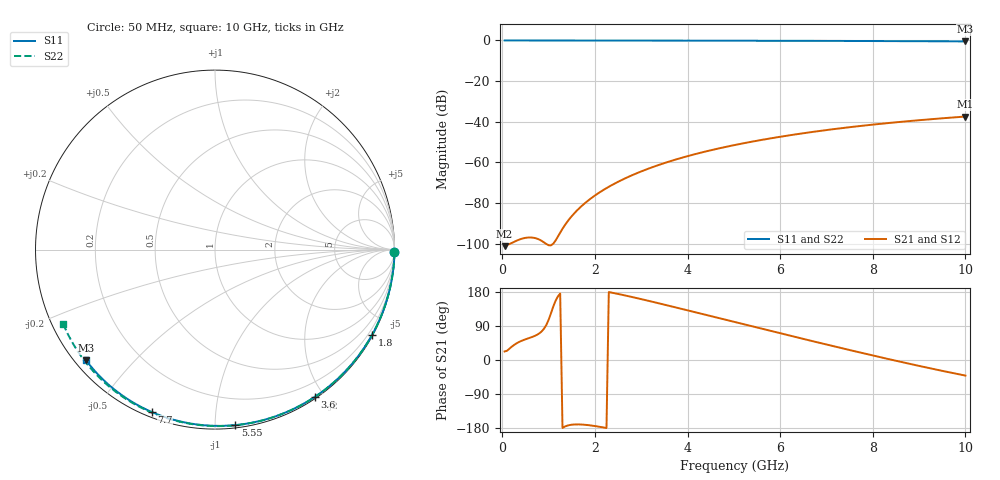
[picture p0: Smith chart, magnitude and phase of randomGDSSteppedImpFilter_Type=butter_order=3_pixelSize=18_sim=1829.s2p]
! freq	dB(S11)	phase(S11)	dB(S12)	phase(S12)
!  dB(S21)	phase(S21)	dB(S22)	phase(S22)
!S-par simulation data
#  GHz  S  DB  R 50
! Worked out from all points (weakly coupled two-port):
!   200 points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, 50 MHz to 10 GHz, reference 50 ohm
!   highest |S21| = -37.45 dB at 10 GHz (marker M1); lowest = -101.3 dB at 50 MHz (marker M2)
!   lowest |S11| = -0.5 dB at 10 GHz (marker M3), VSWR 36.71, Z = 1.55 - j18.5 ohm
!   |S11| at or under -10 dB: nowhere
!   |S22| runs from -0.5 to 0.0 dB; largest |S21 - S12| = 0
!   S11 on the Smith chart (normalised r, x): 50 MHz: open; 1.8 GHz: 0.03, -3.91; 3.6 GHz: 0.02, -1.88; 5.55 GHz: 0.02, -1.12; 7.7 GHz: 0.02, -0.68; 10 GHz: 0.03, -0.37
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0.05  -0.00 -0.8  -101.28 22.5  -101.28 22.5  -0.00 -0.9
0.45  -0.01 -7.3  -97.43 52.3  -97.43 52.3  -0.01 -8.0
0.85  -0.02 -13.7  -98.66 75.4  -98.66 75.4  -0.02 -15.0
1.3  -0.03 -20.8  -92.73 -179.3  -92.73 -179.3  -0.03 -22.9
1.75  -0.04 -27.9  -80.77 -170.6  -80.77 -170.6  -0.04 -30.6
1.8  -0.04 -28.7  -79.80 -171.1  -79.80 -171.1  -0.04 -31.5
1.95  -0.04 -31.0  -77.15 -173.3  -77.15 -173.3  -0.04 -34.0
2.1  -0.04 -33.3  -74.81 -176.2  -74.81 -176.2  -0.05 -36.6
2.3  -0.05 -36.4  -72.04 179.3  -72.04 179.3  -0.05 -39.9
2.5  -0.05 -39.5  -69.59 174.4  -69.59 174.4  -0.06 -43.3
2.9  -0.06 -45.6  -65.40 163.5  -65.40 163.5  -0.06 -49.9
3.4  -0.07 -53.0  -61.12 149.0  -61.12 149.0  -0.08 -58.1
3.6  -0.08 -56.0  -59.63 143.1  -59.63 143.1  -0.08 -61.3
4.3  -0.09 -66.1  -55.17 121.9  -55.17 121.9  -0.10 -72.3
5.05  -0.12 -76.6  -51.33 99.1  -51.33 99.1  -0.13 -83.8
5.55  -0.14 -83.4  -49.16 84.0  -49.16 84.0  -0.15 -91.2
6.1  -0.16 -90.8  -47.06 67.5  -47.06 67.5  -0.18 -99.2
6.7  -0.19 -98.6  -45.03 49.7  -45.03 49.7  -0.21 -107.8
7.7  -0.26 -111.2  -42.18 20.5  -42.18 20.5  -0.28 -121.8
8.35  -0.31 -119.3  -40.62 2.1  -40.62 2.1  -0.34 -130.7
9.2  -0.38 -129.6  -38.87 -20.9  -38.87 -20.9  -0.42 -142.6
10  -0.47 -139.3  -37.45 -41.1  -37.45 -41.1  -0.53 -154.0
